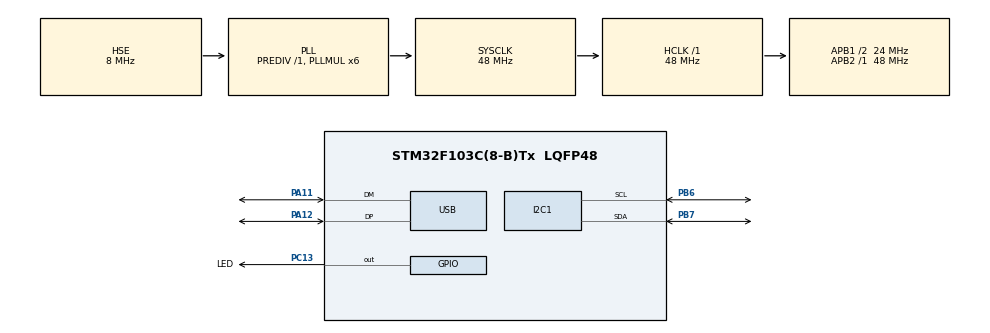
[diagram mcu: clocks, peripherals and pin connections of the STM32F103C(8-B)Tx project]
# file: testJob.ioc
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Mcu.Family=STM32F1
Mcu.Name=STM32F103C(8-B)Tx
Mcu.Package=LQFP48
NVIC.PriorityGroup=NVIC_PRIORITYGROUP_4
NVIC.USB_LP_CAN1_RX0_IRQn=true\:0\:0\:false\:false\:true\:false\:true
PA11.Mode=Device
PA11.Signal=USB_DM
PA12.Mode=Device
PA12.Signal=USB_DP
PA13.Mode=Serial_Wire
PA13.Signal=SYS_JTMS-SWDIO
PA14.Mode=Serial_Wire
PA14.Signal=SYS_JTCK-SWCLK
PB6.Mode=I2C
PB6.Signal=I2C1_SCL
PB7.Mode=I2C
PB7.Signal=I2C1_SDA
PC13-TAMPER-RTC.GPIO_Label=LED
PC13-TAMPER-RTC.GPIO_PuPd=GPIO_NOPULL
PC13-TAMPER-RTC.Signal=GPIO_Output
PD0-OSC_IN.Mode=HSE-External-Oscillator
PD0-OSC_IN.Signal=RCC_OSC_IN
PD1-OSC_OUT.Mode=HSE-External-Oscillator
PD1-OSC_OUT.Signal=RCC_OSC_OUT
ProjectManager.HeapSize=0x200
ProjectManager.StackSize=0x400
ProjectManager.TargetToolchain=STM32CubeIDE
RCC.AHBFreq_Value=48000000
RCC.APB1CLKDivider=RCC_HCLK_DIV2
RCC.APB1Freq_Value=24000000
RCC.APB1TimFreq_Value=48000000
RCC.APB2Freq_Value=48000000
RCC.APB2TimFreq_Value=48000000
RCC.HCLKFreq_Value=48000000
RCC.PLLMUL=RCC_PLL_MUL6
RCC.SYSCLKFreq_VALUE=48000000
RCC.SYSCLKSource=RCC_SYSCLKSOURCE_PLLCLK
RCC.USBFreq_Value=48000000
USB_DEVICE.CLASS_NAME_FS=CDC
USB_DEVICE.VirtualMode=Cdc
USB_DEVICE.VirtualModeFS=Cdc_FS
VP_USB_DEVICE_VS_USB_DEVICE_CDC_FS.Mode=CDC_FS
board=custom

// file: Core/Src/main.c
/* USER CODE BEGIN Header */
/**
  ******************************************************************************
  * @file           : main.c
  * @brief          : Main program body
  ******************************************************************************
  * @attention
  *
  * <h2><center>&copy; Copyright (c) 2020 STMicroelectronics.
  * All rights reserved.</center></h2>
  *
  * This software component is licensed by ST under BSD 3-Clause license,
  * the "License"; You may not use this file except in compliance with the
  * License. You may obtain a copy of the License at:
  *                        opensource.org/licenses/BSD-3-Clause
  *
  ******************************************************************************
  */
/* USER CODE END Header */

#include "main.h"
#include "usb_device.h"
#include "usbd_cdc_if.h"

/* USER CODE BEGIN PD */

#define USB_MESSAGE_SIZE 30
/* USER CODE END PD */

I2C_HandleTypeDef hi2c1;

void SystemClock_Config(void);
static void MX_GPIO_Init(void);
static void MX_I2C1_Init(void);

int main(void)
{

  /* MCU Configuration--------USB_MESSAGE_SIZE------------------------------------------------*/

  /* Reset of all peripherals, Initializes the Flash interface and the Systick. */
  HAL_Init();

  /* Configure the system clock */
  SystemClock_Config();

  /* Initialize all configured peripherals */
  MX_GPIO_Init();
  MX_I2C1_Init();
  MX_USB_DEVICE_Init();
  /* USER CODE BEGIN 2 */

  MPU6050_HAL_ERRORLED_t ErrLED = {0};
  ErrLED.GPIO_ErrorLedPort = LED_GPIO_Port;
  ErrLED.GPIO_ErrorLedPin = LED_Pin;
  mpu6050_hal_init(&ErrLED, &hi2c1, MPU6050_ACCEL_2G_SCALE, MPU6050_GYRO_250_SCALE);

  MPU6050_HAL_ACCEL_t accelAngle;
  MPU6050_HAL_GYRO_t gyro/*, gyroAngle*/;

  uint32_t previosTime = 0;
  uint32_t currentTime = 0;
  float elapsedTime = 0.0f;

  float angleX = 0.0f;
  float angleY = 0.0f;

  // \033[2J
  uint8_t message[USB_MESSAGE_SIZE] = "X: 0000.00 Y: 0000.00\n\r";

  calibrationAccel();
  calibrationGyro();

  /* USER CODE END 2 */

  /* Infinite loop */
  /* USER CODE BEGIN WHILE */
  while (1)
  {
	  getAngleAcceleration(&accelAngle);
	  previosTime = currentTime;
	  currentTime = HAL_GetTick();
	  elapsedTime = (currentTime - previosTime) / 1000.0f; // get seconds

	  getAngleGyroscope(&gyro);

	  angleX = GYRO_PART * (angleX + (gyro.X * elapsedTime)) + ACC_PART * accelAngle.X;
	  angleY = GYRO_PART * (angleY + (gyro.Y * elapsedTime)) + ACC_PART * accelAngle.Y;

	  //Print to USB(Virtual COM-Port)

	  addMessage(message, 3, angleX);
	  addMessage(message, 14, angleY);

	  CDC_Transmit_FS(message, USB_MESSAGE_SIZE);
	  //HAL_Delay(500);
    /* USER CODE END WHILE */
  }
}

void SystemClock_Config(void)
{
  RCC_OscInitTypeDef RCC_OscInitStruct = {0};
  RCC_ClkInitTypeDef RCC_ClkInitStruct = {0};
  RCC_PeriphCLKInitTypeDef PeriphClkInit = {0};

  /** Initializes the CPU, AHB and APB busses clocks
  */
  RCC_OscInitStruct.OscillatorType = RCC_OSCILLATORTYPE_HSE;
  RCC_OscInitStruct.HSEState = RCC_HSE_ON;
  RCC_OscInitStruct.HSEPredivValue = RCC_HSE_PREDIV_DIV1;
  RCC_OscInitStruct.HSIState = RCC_HSI_ON;
  RCC_OscInitStruct.PLL.PLLState = RCC_PLL_ON;
  RCC_OscInitStruct.PLL.PLLSource = RCC_PLLSOURCE_HSE;
  RCC_OscInitStruct.PLL.PLLMUL = RCC_PLL_MUL6;
  if (HAL_RCC_OscConfig(&RCC_OscInitStruct) != HAL_OK)
  {
    Error_Handler();
  }
  /** Initializes the CPU, AHB and APB busses clocks
  */
  RCC_ClkInitStruct.ClockType = RCC_CLOCKTYPE_HCLK|RCC_CLOCKTYPE_SYSCLK
                              |RCC_CLOCKTYPE_PCLK1|RCC_CLOCKTYPE_PCLK2;
  RCC_ClkInitStruct.SYSCLKSource = RCC_SYSCLKSOURCE_PLLCLK;
  RCC_ClkInitStruct.AHBCLKDivider = RCC_SYSCLK_DIV1;
  RCC_ClkInitStruct.APB1CLKDivider = RCC_HCLK_DIV2;
  RCC_ClkInitStruct.APB2CLKDivider = RCC_HCLK_DIV1;

  if (HAL_RCC_ClockConfig(&RCC_ClkInitStruct, FLASH_LATENCY_1) != HAL_OK)
  {
    Error_Handler();
  }
  PeriphClkInit.PeriphClockSelection = RCC_PERIPHCLK_USB;
  PeriphClkInit.UsbClockSelection = RCC_USBCLKSOURCE_PLL;
  if (HAL_RCCEx_PeriphCLKConfig(&PeriphClkInit) != HAL_OK)
  {
    Error_Handler();
  }
}

static void MX_I2C1_Init(void)
{

  hi2c1.Instance = I2C1;
  hi2c1.Init.ClockSpeed = 100000;
  hi2c1.Init.DutyCycle = I2C_DUTYCYCLE_2;
  hi2c1.Init.OwnAddress1 = 0;
  hi2c1.Init.AddressingMode = I2C_ADDRESSINGMODE_7BIT;
  hi2c1.Init.DualAddressMode = I2C_DUALADDRESS_DISABLE;
  hi2c1.Init.OwnAddress2 = 0;
  hi2c1.Init.GeneralCallMode = I2C_GENERALCALL_DISABLE;
  hi2c1.Init.NoStretchMode = I2C_NOSTRETCH_DISABLE;
  if (HAL_I2C_Init(&hi2c1) != HAL_OK)
  {
    Error_Handler();
  }

}

static void MX_GPIO_Init(void)
{
  GPIO_InitTypeDef GPIO_InitStruct = {0};

  /* GPIO Ports Clock Enable */
  __HAL_RCC_GPIOC_CLK_ENABLE();
  __HAL_RCC_GPIOD_CLK_ENABLE();
  __HAL_RCC_GPIOA_CLK_ENABLE();
  __HAL_RCC_GPIOB_CLK_ENABLE();

  /*Configure GPIO pin Output Level */
  HAL_GPIO_WritePin(LED_GPIO_Port, LED_Pin, GPIO_PIN_RESET);

  /*Configure GPIO pin : LED_Pin */
  GPIO_InitStruct.Pin = LED_Pin;
  GPIO_InitStruct.Mode = GPIO_MODE_OUTPUT_PP;
  GPIO_InitStruct.Pull = GPIO_NOPULL;
  GPIO_InitStruct.Speed = GPIO_SPEED_FREQ_LOW;
  HAL_GPIO_Init(LED_GPIO_Port, &GPIO_InitStruct);

}

/* USER CODE BEGIN 4 */
void addMessage(uint8_t *message, uint8_t position, float value){

    int16_t divisional = (int16_t)((value - (int16_t) value)*100);
	  	  if (divisional < 0) divisional = divisional*(-1);

    uint8_t mes[8];
    sprintf((char*)mes, "%4d.%02d", (int16_t) value, divisional);

    uint8_t len = strlen((char*)mes);
    uint8_t i = 0;

    while (i<len)
    {
        *(message+position+i) = *(mes+i);
        i++;
    }

}

/* USER CODE END 4 */

void Error_Handler(void)
{
}

/************************ (C) COPYRIGHT STMicroelectronics *****END OF FILE****/
